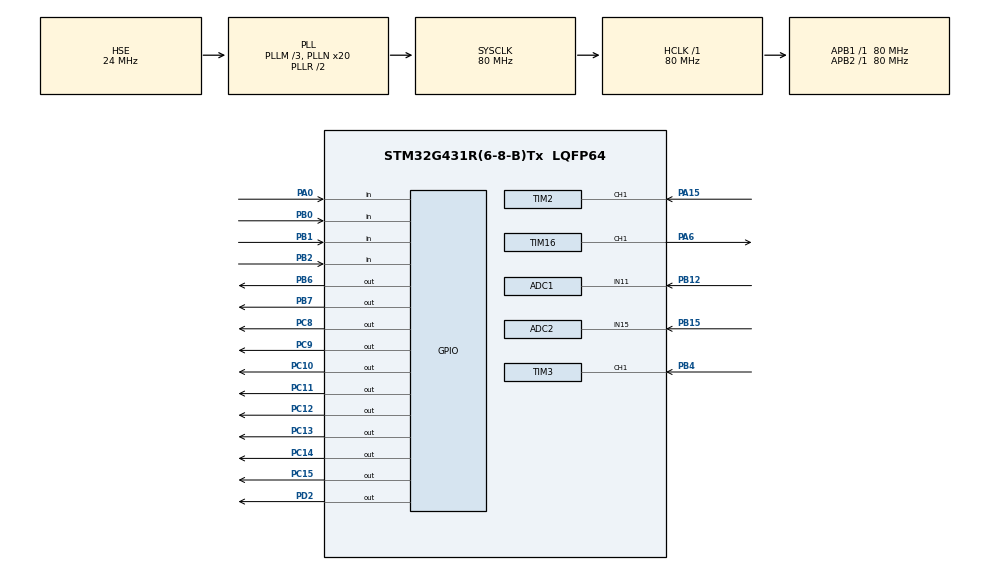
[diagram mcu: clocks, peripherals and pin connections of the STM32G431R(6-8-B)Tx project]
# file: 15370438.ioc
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ADC1.Channel-0\#ChannelRegularConversion=ADC_CHANNEL_11
ADC1.NbrOfConversionFlag=1
ADC1.OffsetNumber-0\#ChannelRegularConversion=ADC_OFFSET_NONE
ADC1.Rank-0\#ChannelRegularConversion=1
ADC1.SamplingTime-0\#ChannelRegularConversion=ADC_SAMPLETIME_247CYCLES_5
ADC1.master=1
ADC2.Channel-0\#ChannelRegularConversion=ADC_CHANNEL_15
ADC2.NbrOfConversionFlag=1
ADC2.OffsetNumber-0\#ChannelRegularConversion=ADC_OFFSET_NONE
ADC2.Rank-0\#ChannelRegularConversion=1
ADC2.SamplingTime-0\#ChannelRegularConversion=ADC_SAMPLETIME_247CYCLES_5
Mcu.Family=STM32G4
Mcu.Name=STM32G431R(6-8-B)Tx
Mcu.Package=LQFP64
NVIC.PriorityGroup=NVIC_PRIORITYGROUP_4
NVIC.TIM2_IRQn=true\:0\:0\:false\:false\:true\:true\:true
NVIC.TIM3_IRQn=true\:0\:0\:false\:false\:true\:true\:true
PA0.Signal=GPIO_Input
PA15.Signal=S_TIM2_CH1
PA6.Signal=S_TIM16_CH1
PB0.Signal=GPIO_Input
PB1.Signal=GPIO_Input
PB12.Mode=IN11-Single-Ended
PB12.Signal=ADC1_IN11
PB15.Mode=IN15-Single-Ended
PB15.Signal=ADC2_IN15
PB2.Signal=GPIO_Input
PB4.Signal=S_TIM3_CH1
PB6.Signal=GPIO_Output
PB7.Signal=GPIO_Output
PC10.PinState=GPIO_PIN_SET
PC10.Signal=GPIO_Output
PC11.PinState=GPIO_PIN_SET
PC11.Signal=GPIO_Output
PC12.PinState=GPIO_PIN_SET
PC12.Signal=GPIO_Output
PC13.PinState=GPIO_PIN_SET
PC13.Signal=GPIO_Output
PC14-OSC32_IN.PinState=GPIO_PIN_SET
PC14-OSC32_IN.Signal=GPIO_Output
PC15-OSC32_OUT.PinState=GPIO_PIN_SET
PC15-OSC32_OUT.Signal=GPIO_Output
PC8.PinState=GPIO_PIN_SET
PC8.Signal=GPIO_Output
PC9.PinState=GPIO_PIN_SET
PC9.Signal=GPIO_Output
PD2.Signal=GPIO_Output
PF0-OSC_IN.Mode=HSE-External-Oscillator
PF0-OSC_IN.Signal=RCC_OSC_IN
PF1-OSC_OUT.Mode=HSE-External-Oscillator
PF1-OSC_OUT.Signal=RCC_OSC_OUT
ProjectManager.HeapSize=0x200
ProjectManager.StackSize=0x400
ProjectManager.TargetToolchain=MDK-ARM V5.27
RCC.ADC12Freq_Value=80000000
RCC.AHBFreq_Value=80000000
RCC.APB1Freq_Value=80000000
RCC.APB1TimFreq_Value=80000000
RCC.APB2Freq_Value=80000000
RCC.APB2TimFreq_Value=80000000
RCC.CortexFreq_Value=80000000
RCC.EXTERNAL_CLOCK_VALUE=12288000
RCC.HCLKFreq_Value=80000000
RCC.HSE_VALUE=24000000
RCC.HSI48_VALUE=48000000
RCC.HSI_VALUE=16000000
RCC.LSE_VALUE=32768
RCC.PLLM=RCC_PLLM_DIV3
RCC.PLLN=20
RCC.PLLSourceVirtual=RCC_PLLSOURCE_HSE
RCC.SYSCLKFreq_VALUE=80000000
RCC.SYSCLKSource=RCC_SYSCLKSOURCE_PLLCLK
RCC.USBFreq_Value=80000000
RCC.VCOOutputFreq_Value=160000000
SH.S_TIM16_CH1.0=TIM16_CH1,PWM Generation1 CH1
SH.S_TIM2_CH1.0=TIM2_CH1,Input_Capture1_from_TI1
SH.S_TIM3_CH1.0=TIM3_CH1,Input_Capture1_from_TI1
TIM16.AutoReloadPreload=TIM_AUTORELOAD_PRELOAD_ENABLE
TIM16.Channel=TIM_CHANNEL_1
TIM16.PeriodNoDither=999
TIM16.Prescaler=79
TIM16.PulseNoDither_1=500
TIM17.AutoReloadPreload=TIM_AUTORELOAD_PRELOAD_ENABLE
TIM17.PeriodNoDither=999
TIM17.Prescaler=79
TIM2.AutoReloadPreload=TIM_AUTORELOAD_PRELOAD_ENABLE
TIM2.Channel-Input_Capture1_from_TI1=TIM_CHANNEL_1
TIM2.PeriodNoDither=65535
TIM2.Prescaler=79
TIM3.AutoReloadPreload=TIM_AUTORELOAD_PRELOAD_ENABLE
TIM3.Channel-Input_Capture1_from_TI1=TIM_CHANNEL_1
TIM3.PeriodNoDither=65535
TIM3.Prescaler=79
VP_SYS_VS_DBSignals.Mode=DisableDeadBatterySignals
VP_TIM16_VS_ClockSourceINT.Mode=Enable_Timer
VP_TIM17_VS_ClockSourceINT.Mode=Enable_Timer
VP_TIM2_VS_ClockSourceINT.Mode=Internal
VP_TIM3_VS_ClockSourceINT.Mode=Internal
board=custom

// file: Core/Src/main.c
/* USER CODE BEGIN Header */
/**
  ******************************************************************************
  * @file           : main.c
  * @brief          : Main program body
  ******************************************************************************
  * @attention
  *
  * <h2><center>&copy; Copyright (c) 2024 STMicroelectronics.
  * All rights reserved.</center></h2>
  *
  * This software component is licensed by ST under BSD 3-Clause license,
  * the "License"; You may not use this file except in compliance with the
  * License. You may obtain a copy of the License at:
  *                        opensource.org/licenses/BSD-3-Clause
  *
  ******************************************************************************
  */
/* USER CODE END Header */
#include "main.h"
#include "adc.h"
#include "tim.h"
#include "gpio.h"

/* USER CODE BEGIN Includes */
#include "led.h"
#include <stdio.h>
#include "lcd.h"
#include "i2c_hal.h"
/* USER CODE END Includes */

/* USER CODE BEGIN PTD */
typedef enum
{
	Key_Check,
	Key_Press,
	Key_Release,
	Key_Over
}Key_State;
/* USER CODE END PTD */

/* USER CODE BEGIN PD */
#define K1 HAL_GPIO_ReadPin(GPIOB, GPIO_PIN_0)
#define K2 HAL_GPIO_ReadPin(GPIOB, GPIO_PIN_1)
#define K3 HAL_GPIO_ReadPin(GPIOB, GPIO_PIN_2)
#define K4 HAL_GPIO_ReadPin(GPIOA, GPIO_PIN_0)

#define Press   GPIO_PIN_RESET
#define Release GPIO_PIN_SET
/* USER CODE END PD */

/* USER CODE BEGIN PV */
Key_State KeyState = Key_Check;
uint8_t KeyNum, Num;
uint16_t Key_Press_Time = 20, Preq_Value_3, Preq_3, Preq_Value_2, Preq_2, Period;
uint8_t Str[20], ShowSelect, MutiplyPreq, SplitPreq, PreqSelect;
float Vol_37, Vol_38;
/* USER CODE END PV */

void SystemClock_Config(void);
/* USER CODE BEGIN PFP */
void Key_Scan(void);
float getADC_R37(void);
float getADC_R38(void);
void HighLight(uint8_t Linex, uint8_t * LCDShow, uint8_t pos, uint8_t add);
void LCD_Show(void);

/* USER CODE END PFP */

/* USER CODE BEGIN 0 */
void HAL_TIM_IC_CaptureCallback(TIM_HandleTypeDef * htim)
{
	if(htim->Instance == TIM3)
	{
		Preq_Value_3 = __HAL_TIM_GET_COUNTER(&htim3);
		__HAL_TIM_SetCounter(&htim3, 0);
		Preq_3 = 1000000 / Preq_Value_3;
		HAL_TIM_IC_Start_IT(&htim3, TIM_CHANNEL_1);
	}
	else if(htim->Instance == TIM2)
	{
		Preq_Value_2 = __HAL_TIM_GET_COUNTER(&htim2);
		__HAL_TIM_SetCounter(&htim2, 0);
		Preq_2 = 1000000 / Preq_Value_2;
		HAL_TIM_IC_Start_IT(&htim3, TIM_CHANNEL_1);
	}
}
/* USER CODE END 0 */

int main(void)
{

  /* MCU Configuration--------------------------------------------------------*/

  /* Reset of all peripherals, Initializes the Flash interface and the Systick. */
  HAL_Init();

  /* Configure the system clock */
  SystemClock_Config();

  /* Initialize all configured peripherals */
  MX_GPIO_Init();
  MX_ADC1_Init();
  MX_ADC2_Init();
  MX_TIM2_Init();
  MX_TIM3_Init();
  MX_TIM16_Init();
  MX_TIM17_Init();
  /* USER CODE BEGIN 2 */
  LED_Init();

  LCD_Init();
  LCD_Clear(Black);
  LCD_SetBackColor(Black);
  LCD_SetTextColor(White);

  HAL_TIM_IC_Start_IT(&htim2, TIM_CHANNEL_1);
  HAL_TIM_IC_Start_IT(&htim3, TIM_CHANNEL_1);

  HAL_TIM_PWM_Start_IT(&htim16, TIM_CHANNEL_1);
  __HAL_TIM_CLEAR_IT(&htim16, TIM_CHANNEL_1);
  __HAL_TIM_SetAutoreload(&htim16, 999);

//  x24C02_Write(0x01, 0);
//  x24C02_Write(0x02, 0);
  SplitPreq = x24C02_Read(0x01);
  MutiplyPreq = x24C02_Read(0x02);
  SplitPreq = x24C02_Read(0x01);
  MutiplyPreq = x24C02_Read(0x02);
  MutiplyPreq = x24C02_Read(0x02);

  /* USER CODE END 2 */

  /* Infinite loop */
  /* USER CODE BEGIN WHILE */
  while (1)
  {
	  if(KeyState == Key_Over)
	  {
		  KeyState = Key_Check;
		  if(KeyNum == 1)
		  {
			 ShowSelect = !ShowSelect;
			 if(ShowSelect == 0)
			 {
				 x24C02_Write(0x01, SplitPreq);
				 x24C02_Write(0x02, MutiplyPreq);
				 x24C02_Write(0x01, SplitPreq);
				 x24C02_Write(0x02, MutiplyPreq);
			 }
		  }
		  else if(KeyNum == 2)
		  {
			 PreqSelect = !PreqSelect;
		  }
		  else if(KeyNum == 3)
		  {
			  if(ShowSelect == 1)
			  {
				  if(PreqSelect == 0)
				  {
					  SplitPreq ++;
					  if(SplitPreq >= 5)SplitPreq = 1;
				  }
				  else
				  {
					  MutiplyPreq ++;
					  if(MutiplyPreq >= 5)MutiplyPreq = 1;
				  }
			  }

		  }
		  else if(KeyNum == 4)
		  {
			  if(ShowSelect == 1)
			  {
				  if(PreqSelect == 0)
				  {
					  SplitPreq --;
					  if(SplitPreq == 0)SplitPreq = 4;
				  }
				  else
				  {
					  MutiplyPreq --;
					  if(MutiplyPreq == 0)MutiplyPreq = 4;
				  }
			  }
		  }
	  }

	  if(ShowSelect == 1)LED_ON(1);
	  else LED_OFF(1);
	  if(Vol_37 > Vol_38)LED_ON(8);
	  else LED_OFF(8);

	  Period = (uint16_t)((SplitPreq * 1.0f / Preq_2) * 1000000 - 1);
	  __HAL_TIM_SetAutoreload(&htim16, Period);
	  if(ShowSelect == 1)__HAL_TIM_SetCompare(&htim16, TIM_CHANNEL_1, 0);
	  else __HAL_TIM_SetCompare(&htim16, TIM_CHANNEL_1, (Period + 1) / 2);

	  sprintf((char *)Str, "%d", Period);
	  LCD_DisplayStringLine(Line0, Str);

	  Vol_37 = getADC_R37();
	  Vol_38 = getADC_R38();

	  if(MutiplyPreq == 0 || MutiplyPreq > 4)MutiplyPreq = 1;
	  if(SplitPreq == 0 || SplitPreq > 4)SplitPreq = 1;

	  LCD_Show();
    /* USER CODE END WHILE */

  }
}

void SystemClock_Config(void)
{
  RCC_OscInitTypeDef RCC_OscInitStruct = {0};
  RCC_ClkInitTypeDef RCC_ClkInitStruct = {0};
  RCC_PeriphCLKInitTypeDef PeriphClkInit = {0};

  /** Configure the main internal regulator output voltage
  */
  HAL_PWREx_ControlVoltageScaling(PWR_REGULATOR_VOLTAGE_SCALE1);
  /** Initializes the RCC Oscillators according to the specified parameters
  * in the RCC_OscInitTypeDef structure.
  */
  RCC_OscInitStruct.OscillatorType = RCC_OSCILLATORTYPE_HSE;
  RCC_OscInitStruct.HSEState = RCC_HSE_ON;
  RCC_OscInitStruct.PLL.PLLState = RCC_PLL_ON;
  RCC_OscInitStruct.PLL.PLLSource = RCC_PLLSOURCE_HSE;
  RCC_OscInitStruct.PLL.PLLM = RCC_PLLM_DIV3;
  RCC_OscInitStruct.PLL.PLLN = 20;
  RCC_OscInitStruct.PLL.PLLP = RCC_PLLP_DIV2;
  RCC_OscInitStruct.PLL.PLLQ = RCC_PLLQ_DIV2;
  RCC_OscInitStruct.PLL.PLLR = RCC_PLLR_DIV2;
  if (HAL_RCC_OscConfig(&RCC_OscInitStruct) != HAL_OK)
  {
    Error_Handler();
  }
  /** Initializes the CPU, AHB and APB buses clocks
  */
  RCC_ClkInitStruct.ClockType = RCC_CLOCKTYPE_HCLK|RCC_CLOCKTYPE_SYSCLK
                              |RCC_CLOCKTYPE_PCLK1|RCC_CLOCKTYPE_PCLK2;
  RCC_ClkInitStruct.SYSCLKSource = RCC_SYSCLKSOURCE_PLLCLK;
  RCC_ClkInitStruct.AHBCLKDivider = RCC_SYSCLK_DIV1;
  RCC_ClkInitStruct.APB1CLKDivider = RCC_HCLK_DIV1;
  RCC_ClkInitStruct.APB2CLKDivider = RCC_HCLK_DIV1;

  if (HAL_RCC_ClockConfig(&RCC_ClkInitStruct, FLASH_LATENCY_2) != HAL_OK)
  {
    Error_Handler();
  }
  /** Initializes the peripherals clocks
  */
  PeriphClkInit.PeriphClockSelection = RCC_PERIPHCLK_ADC12;
  PeriphClkInit.Adc12ClockSelection = RCC_ADC12CLKSOURCE_SYSCLK;
  if (HAL_RCCEx_PeriphCLKConfig(&PeriphClkInit) != HAL_OK)
  {
    Error_Handler();
  }
}

/* USER CODE BEGIN 4 */
void HighLight(uint8_t Linex, uint8_t * LCDShow, uint8_t pos, uint8_t add)
{
	uint8_t i;
	for(uint8_t i = 0; i < 20; i++)
	{
		if(i != pos)
		{
			LCD_DisplayChar(Linex * 24, 320 - (16 * i), LCDShow[i]);
		}
		else if(i == pos)i += add;
	}
	LCD_SetBackColor(White);
	LCD_SetTextColor(Black);
	for(i = 0; i < add; i ++)
	{
		LCD_DisplayChar(24 *Linex, 320 - (16 * (i + pos)), LCDShow[i + pos]);
	}
	LCD_SetBackColor(Black);
	LCD_SetTextColor(White);
}

void LCD_Show(void)
{
	if(ShowSelect == 0)
	  {
		  LCD_DisplayStringLine(Line2, (uint8_t *)"    Meature    ");

		  sprintf((char *)Str, "PULS1:%dHz       ", Preq_2);
		  LCD_DisplayStringLine(Line4, (uint8_t *)Str);
		  sprintf((char *)Str, "PULS2:%dHz       ", Preq_3);
		  LCD_DisplayStringLine(Line5, (uint8_t *)Str);

		  sprintf((char *)Str, "AO1:%.2fV           ", Vol_37);
		  LCD_DisplayStringLine(Line6, (uint8_t *)Str);
		  sprintf((char *)Str, "AO2:%.2fV           ", Vol_38);
		  LCD_DisplayStringLine(Line7, (uint8_t *)Str);

		  LCD_DisplayStringLine(Line9, (uint8_t *)"                   1");
	  }
	  else
	  {
		  LCD_DisplayStringLine(Line2, (uint8_t *)"    Set    ");

		  if(PreqSelect == 0)
		  {
			  sprintf((char *)Str, "SplitPreq:%d         ", SplitPreq);
			  HighLight(4, (uint8_t *)Str, 0, 20);
			  sprintf((char *)Str, "MutiplyPreq:%d       ", MutiplyPreq);
			  LCD_DisplayStringLine(Line6, (uint8_t *)Str);
		  }
		  else
		  {
			  sprintf((char *)Str, "SplitPreq:%d         ", SplitPreq);
			  LCD_DisplayStringLine(Line4, (uint8_t *)Str);

			  sprintf((char *)Str, "MutiplyPreq:%d       ", MutiplyPreq);
			  HighLight(6, (uint8_t *)Str, 0, 20);

		  }

		  LCD_DisplayStringLine(Line5, (uint8_t *)"                   ");
		  LCD_DisplayStringLine(Line7, (uint8_t *)"                   ");

		  LCD_DisplayStringLine(Line9, (uint8_t *)"                   2");
	  }
}

float getADC_R37(void)
{
	uint16_t adc;
	HAL_ADC_Start(&hadc2);
	HAL_ADC_PollForConversion(&hadc2, 10);
	adc = HAL_ADC_GetValue(&hadc2);
	HAL_ADC_Stop(&hadc2);
	return adc * 3.3f / 4096;
}

float getADC_R38(void)
{
	uint16_t adc;
	HAL_ADC_Start(&hadc1);
	HAL_ADC_PollForConversion(&hadc1, 10);
	adc = HAL_ADC_GetValue(&hadc1);
	HAL_ADC_Stop(&hadc1);
	return adc * 3.3f / 4096;
}

void Key_Scan(void)
{
	switch(KeyState)
	{
		case Key_Check:
		{
			if(K1 == Press || K2 == Press || K3 == Press || K4 == Press)
			{
				KeyState = Key_Press;
			}
		}
		break;
		case Key_Press:
		{
			if(K1 == Press)KeyNum = 1;
			else if(K2 == Press)KeyNum = 2;
			else if(K3 == Press)KeyNum = 3;
			else if(K4 == Press)KeyNum = 4;
			KeyState = Key_Release;
		}
		break;
		case Key_Release:
		{
			if(K1 == Press || K2 == Press || K3 == Press || K4 == Press)
			{
				Key_Press_Time += 10;
			}
			else
			{
				KeyState = Key_Over;
			}
		}
		break;
		default:
		break;
	}
}
/* USER CODE END 4 */

void Error_Handler(void)
{
  __disable_irq();
  while (1)
  {
  }
}

/************************ (C) COPYRIGHT STMicroelectronics *****END OF FILE****/
